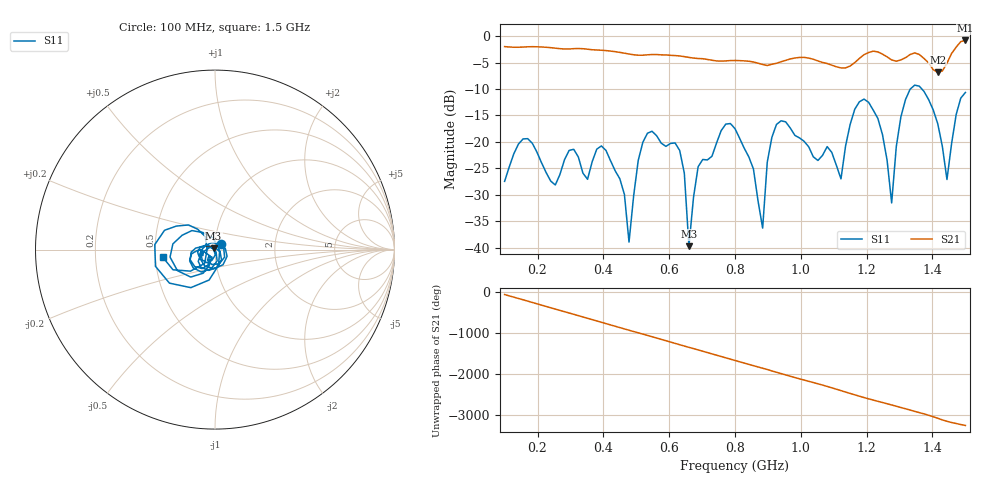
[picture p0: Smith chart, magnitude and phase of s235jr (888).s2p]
! NanoVNA-App
! Date: 2025-09-25 15:11:05
! Start: 100MHz Stop: 1,5GHz Points: 101
! S-Parameter data: F S11 S21 S12 S22
# Hz S RI R 50
!  Frequency  S11_Real  S11_Imag  S21_Real  S21_Imag  S12_Real  S12_Imag  S22_Real  S22_Imag
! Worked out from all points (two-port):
!   101 points, 100 MHz to 1.5 GHz, reference 50 ohm
!   highest |S21| = -0.80 dB at 1.5 GHz (marker M1); lowest = -6.9 dB at 1.416 GHz (marker M2)
!   |S21| within 3 dB of the highest: start of sweep to 639.1 MHz; 1.186 GHz to 1.259 GHz (73.46 MHz wide, 6.01 % of centre) (the widest 2 of 4)
!   lowest |S11| = -39.7 dB at 660 MHz (marker M3), VSWR 1.02, Z = 49.2 + j0.617 ohm
!   |S11| at or under -10 dB: start of sweep to 1.333 GHz; 1.368 GHz to end of sweep
!   S12 and S22 are empty: the file has one direction only
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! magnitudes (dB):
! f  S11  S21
! 100 MHz  -27.5  -2.0
! 156 MHz  -19.4  -2.1
! 338 MHz  -25.9  -2.4
! 408 MHz  -21.6  -2.7
! 478 MHz  -39.0  -3.4
! 520 MHz  -20.1  -3.6
! 576 MHz  -20.2  -3.5
! 632 MHz  -21.6  -3.7
! 660 MHz  -39.7  -4.0
! 688 MHz  -24.7  -4.2
! 800 MHz  -17.5  -4.6
! 884 MHz  -36.3  -5.4
! 926 MHz  -16.7  -5.1
! 1.038 GHz  -22.8  -4.4
! 1.122 GHz  -27.0  -6.0
! 1.192 GHz  -11.9  -3.5
! 1.248 GHz  -18.6  -3.4
! 1.276 GHz  -31.5  -4.5
! 1.332 GHz  -10.0  -3.5
! 1.416 GHz  -16.6  -6.9
! 1.444 GHz  -27.1  -5.1
! 1.5 GHz  -10.6  -0.8
